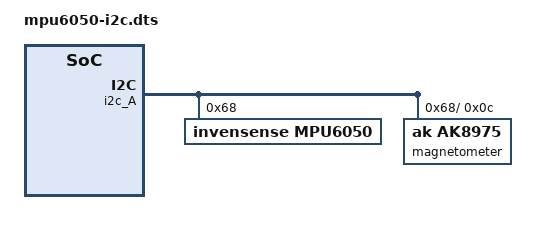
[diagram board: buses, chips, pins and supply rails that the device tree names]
/dts-v1/;
/plugin/;

#include <dt-bindings/interrupt-controller/irq.h>

/ {
	fragment@0 {
		target = <&i2c_A>;

		__overlay__ {
			#address-cells = <1>;
			#size-cells = <0>;

			status = "okay";

			mpu6050@68 {
				compatible = "invensense,mpu6050";
				reg = <0x68>;
				interrupt-parent = <&gpio_intc>;
				interrupts = <33 IRQ_TYPE_LEVEL_LOW>;
				mount-matrix = "-0.984807753012208",  /* x0 */
	 							"0",                   /* y0 */
				 				"-0.173648177666930",  /* z0 */
				 				"0",                   /* x1 */
				 				"-1",                  /* y1 */
				 				"0",                   /* z1 */
				 				"-0.173648177666930",  /* x2 */
				 				"0",                   /* y2 */
				 				"0.984807753012208";   /* z2 */
				i2c-gate {
					#address-cells = <1>;
				    #size-cells = <0>;
				    magnetometer@c {
				        compatible = "ak,ak8975";
				        reg = <0x0c>;
				    };
				};
		 	};
		};
	};
};
